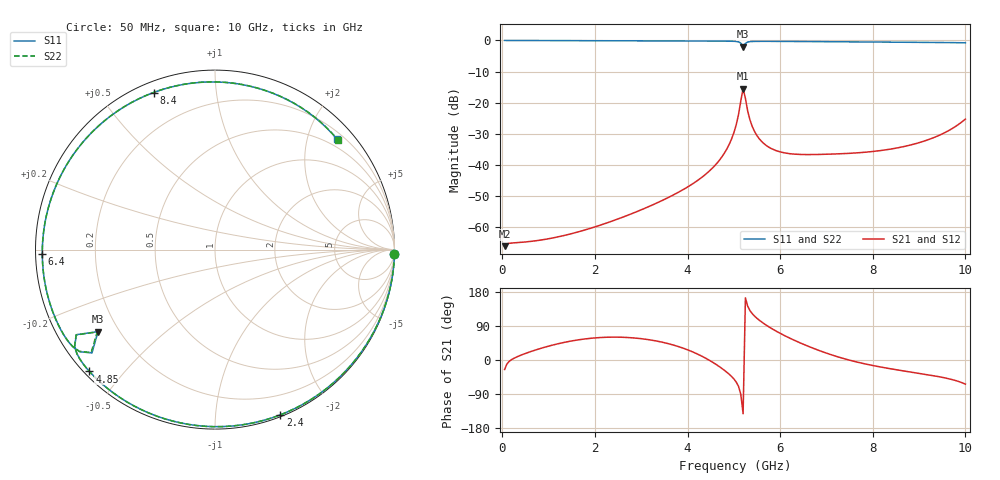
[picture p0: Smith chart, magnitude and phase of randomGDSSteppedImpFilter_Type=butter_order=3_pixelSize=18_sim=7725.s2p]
! freq	dB(S11)	phase(S11)	dB(S12)	phase(S12)
!  dB(S21)	phase(S21)	dB(S22)	phase(S22)
!S-par simulation data
#  GHz  S  DB  R 50
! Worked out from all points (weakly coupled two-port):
!   200 points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, 50 MHz to 10 GHz, reference 50 ohm
!   highest |S21| = -15.45 dB at 5.2 GHz (marker M1); lowest = -66.1 dB at 50 MHz (marker M2)
!   lowest |S11| = -2.0 dB at 5.2 GHz (marker M3), VSWR 8.80, Z = 6.24 - j15.6 ohm
!   |S11| at or under -10 dB: nowhere
!   |S22| runs from -1.9 to 0.0 dB; largest |S21 - S12| = 0
!   S11 on the Smith chart (normalised r, x): 50 MHz: 0, -78; 2.4 GHz: 0.02, -1.47; 4.85 GHz: 0.01, -0.41; 6.4 GHz: 0.02, -0.01; 8.4 GHz: 0.05, +0.68; 10 GHz: 0.33, +2.55
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0.05  -0.00 -1.5  -66.06 -25.1  -66.06 -25.1  -0.00 -1.5
0.85  -0.03 -24.8  -64.05 31.4  -64.05 31.4  -0.03 -24.8
1.75  -0.06 -50.4  -61.01 55.1  -61.01 55.1  -0.06 -50.4
2.4  -0.09 -68.5  -57.86 60.4  -57.86 60.4  -0.09 -68.5
3.4  -0.13 -95.7  -51.76 48.4  -51.76 48.4  -0.13 -95.8
4.35  -0.18 -121.5  -43.48 7.4  -43.48 7.4  -0.18 -121.6
4.65  -0.20 -129.9  -39.17 -14.4  -39.17 -14.4  -0.20 -130.0
4.85  -0.22 -135.8  -34.82 -32.4  -34.82 -32.4  -0.22 -135.9
5.05  -0.32 -142.9  -27.16 -57.9  -27.16 -57.9  -0.32 -142.9
5.15  -0.86 -148.5  -19.44 -90.4  -19.44 -90.4  -0.84 -148.4
5.2  -1.98 -145.0  -15.45 -141.8  -15.45 -141.8  -1.93 -145.1
5.25  -0.96 -140.0  -18.62 164.0  -18.62 164.0  -0.94 -140.3
5.35  -0.37 -145.5  -25.61 129.9  -25.61 129.9  -0.36 -145.7
5.55  -0.28 -152.7  -31.60 105.0  -31.60 105.0  -0.28 -152.9
5.9  -0.29 -163.4  -35.31 77.1  -35.31 77.1  -0.29 -163.6
6.4  -0.33 -178.6  -36.59 46.9  -36.59 46.9  -0.33 -178.8
6.7  -0.36 172.0  -36.64 31.6  -36.64 31.6  -0.36 171.7
7.5  -0.44 145.2  -36.25 -0.5  -36.25 -0.5  -0.44 144.8
8.35  -0.54 113.4  -34.97 -22.5  -34.97 -22.5  -0.53 112.8
8.4  -0.54 111.4  -34.85 -23.5  -34.85 -23.5  -0.54 110.8
9.2  -0.62 78.1  -31.86 -39.1  -31.86 -39.1  -0.62 77.4
10  -0.76 42.3  -25.26 -63.7  -25.26 -63.7  -0.75 41.6
